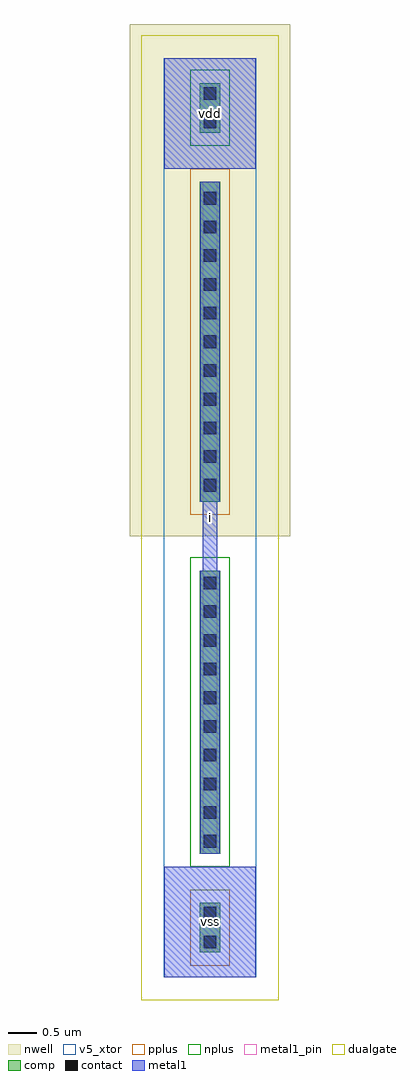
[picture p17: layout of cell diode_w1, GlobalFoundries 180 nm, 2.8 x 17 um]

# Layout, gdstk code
import gdstk
lib = gdstk.Library(unit=1e-6, precision=1e-09)
def R(c, l, rs):  # rectangles x0, y0, x1, y1
    for r in rs: c.add(gdstk.rectangle(r[:2], r[2:], *l))
def A(c, l, x, y, w, h, nx, ny, dx, dy):  # array of equal rectangles
    R(c, l, [(x+i*dx, y+j*dy, x+i*dx+w, y+j*dy+h) for i in range(nx) for j in range(ny)])
nwell = (21, 0)
comp = (22, 0)
pplus = (31, 0)
nplus = (32, 0)
contact = (33, 0)
metal1 = (34, 0)
metal1_pin = (34, 10)
dualgate = (55, 0)
v5_xtor = (112, 1)

diode_w1 = lib.new_cell('diode_w1')
R(diode_w1, nwell, [(-0.6,7.68,2.2,16.6)])
R(diode_w1, comp, [(0.62,0.43,0.98,1.29), (0.62,2.15,0.98,7.08), (0.62,8.28,0.98,13.85), (0.62,14.71,0.98,15.57)])
R(diode_w1, pplus, [(0.46,0.2,1.14,1.52), (0.46,8.05,1.14,14.08)])
R(diode_w1, nplus, [(0.46,1.92,1.14,7.31), (0.46,14.48,1.14,15.8)])
A(diode_w1, contact, 0.69, 2.255, 0.22, 0.22, 1, 10, 0, 0.5)
A(diode_w1, contact, 0.69, 8.455, 0.22, 0.22, 1, 11, 0, 0.5)
R(diode_w1, contact, [(0.69,0.5,0.91,0.72), (0.69,1,0.91,1.22), (0.69,14.78,0.91,15), (0.69,15.28,0.91,15.5)])
R(diode_w1, metal1, [(0,0,1.6,1.92), (0.63,2.15,0.97,7.08), (0.67,2.15,0.93,13.85), (0.63,8.28,0.97,13.85), (0,14.08,1.6,16)])
R(diode_w1, metal1_pin, [(0,0,1.6,1.92), (0.67,2.15,0.93,13.85), (0,14.08,1.6,16)])
R(diode_w1, dualgate, [(-0.4,-0.4,2,16.4)])
R(diode_w1, v5_xtor, [(-0.005,-0.005,1.605,16.005)])
diode_w1.add(gdstk.Label('vdd', (0.8,15.04), layer=34, texttype=10))
diode_w1.add(gdstk.Label('vss', (0.8,0.96), layer=34, texttype=10))
diode_w1.add(gdstk.Label('i', (0.8,8), layer=34, texttype=10))

lib.write_gds('diode_w1.gds')
